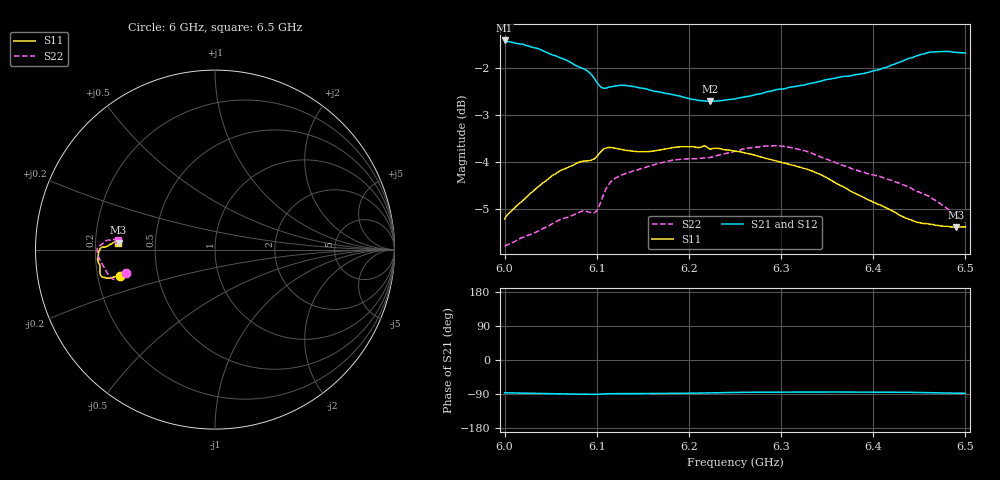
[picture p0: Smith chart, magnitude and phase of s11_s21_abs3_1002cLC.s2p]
! MS46122B
! 1919307/90821646
! 7/29/2022 2:06:13 PM
! C:\USERS\PC_\DESKTOP\MEDICIONES\BANCHA ESTRECHA\6_65_GHZ\S11_S21_ABS3_1002CL.S2P
! CHANNEL.1
! TR.MEASUREMENT
! CORRECTED.DATA
# GHZ S RI R 50.0
! FREQ.GHZ  S11RE  S11IM  S21RE  S21IM  S12RE  S12IM  S22RE  S22IM
!; PortSelection: Port_12
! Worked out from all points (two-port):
!   201 points, 6 GHz to 6.5 GHz, reference 50 ohm
!   highest |S21| = -1.41 dB at 6 GHz (marker M1); lowest = -2.7 dB at 6.223 GHz (marker M2)
!   |S21| within 3 dB of the highest: start of sweep to end of sweep
!   lowest |S11| = -5.4 dB at 6.49 GHz (marker M3), VSWR 3.33, Z = 15 + j1.6 ohm
!   |S11| at or under -10 dB: nowhere
!   |S22| runs from -5.8 to -3.6 dB; largest |S21 - S12| = 0.02
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6  -0.53 -0.1445  0.0521 -0.8483  0.0575 -0.8424  -0.4967 -0.1323
6.0325  -0.569 -0.155  0.0275 -0.8343  0.0289 -0.8315  -0.5141 -0.1328
6.06  -0.597 -0.1587  0.00897 -0.8146  0.00937 -0.8079  -0.5311 -0.1365
6.085  -0.6132 -0.1555  -0.00276 -0.7936  -4.65e-05 -0.7836  -0.5418 -0.1421
6.095  -0.6158 -0.154  -0.00936 -0.7801  -0.005 -0.7701  -0.5384 -0.145
6.1  -0.6209 -0.1547  -0.00844 -0.7675  -0.00402 -0.7574  -0.5385 -0.155
6.1075  -0.6348 -0.1474  0.00561 -0.7561  0.011 -0.7455  -0.5592 -0.1671
6.115  -0.6408 -0.1321  0.0145 -0.7588  0.021 -0.7483  -0.5804 -0.1578
6.125  -0.641 -0.1175  0.0169 -0.7614  0.024 -0.7501  -0.5939 -0.1414
6.1675  -0.6451 -0.0794  0.0216 -0.7491  0.0308 -0.7374  -0.6226 -0.0905
6.19  -0.6519 -0.0669  0.025 -0.7416  0.0366 -0.7312  -0.6312 -0.0748
6.2175  -0.655 -0.0488  0.0376 -0.7318  0.0509 -0.724  -0.6342 -0.0657
6.2225  -0.6504 -0.0444  0.04 -0.7314  0.0538 -0.7235  -0.6351 -0.0643
6.25  -0.6482 -0.0186  0.0574 -0.7344  0.0699 -0.729  -0.6464 -0.0452
6.2875  -0.6354 0.0105  0.0679 -0.7473  0.081 -0.7421  -0.6569 -0.0058
6.3075  -0.6283 0.0146  0.0709 -0.754  0.0849 -0.7492  -0.6549 0.0109
6.335  -0.6168 0.0134  0.0728 -0.7628  0.0904 -0.761  -0.6439 0.0218
6.4175  -0.5608 0.0423  0.0725 -0.7949  0.0834 -0.7985  -0.6025 0.0518
6.4375  -0.5476 0.0455  0.0676 -0.8099  0.0779 -0.8139  -0.5919 0.0533
6.46  -0.541 0.0429  0.0533 -0.8235  0.0617 -0.8278  -0.5784 0.0546
6.49  -0.5371 0.0379  0.0349 -0.8247  0.0397 -0.8289  -0.5508 0.0554
6.5  -0.5378 0.0359  0.031 -0.8235  0.0358 -0.8267  -0.543 0.0525
